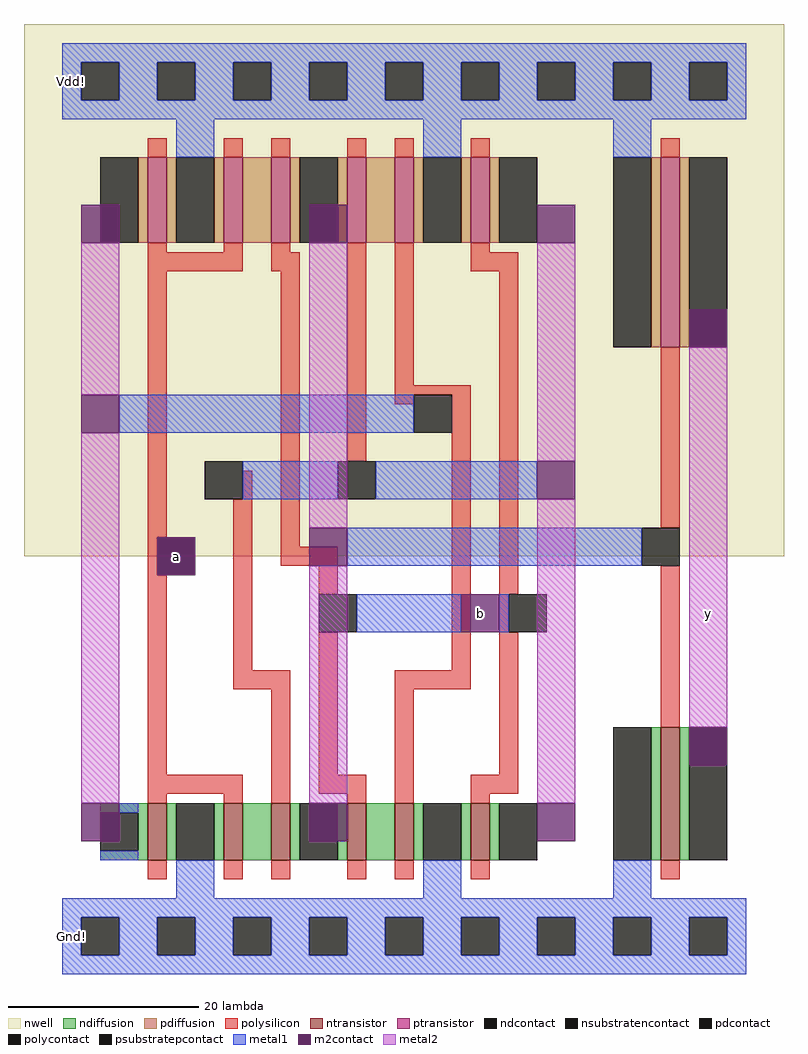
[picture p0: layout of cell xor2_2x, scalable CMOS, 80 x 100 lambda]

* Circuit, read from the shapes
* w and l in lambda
.subckt xor2_2x Gnd! Vdd! a b y
M1 Gnd! a n1 Gnd! nfet w=6 l=2
M2 n2 a Gnd! Gnd! nfet w=6 l=2
M3 n3 n4 n2 Gnd! nfet w=6 l=2
M4 n5 b n3 Gnd! nfet w=6 l=2
M5 Gnd! n1 n5 Gnd! nfet w=6 l=2
M6 n4 b Gnd! Gnd! nfet w=6 l=2
M7 y n3 Gnd! Gnd! nfet w=14 l=2
M8 Vdd! a n1 Vdd! pfet w=9 l=2
M9 n6 a Vdd! Vdd! pfet w=9 l=2
M10 n3 b n6 Vdd! pfet w=9 l=2
M11 n7 n4 n3 Vdd! pfet w=9 l=2
M12 Vdd! n1 n7 Vdd! pfet w=9 l=2
M13 n4 b Vdd! Vdd! pfet w=9 l=2
M14 y n3 Vdd! Vdd! pfet w=20 l=2
.ends

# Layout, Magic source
magic
tech scmos
<< nwell >>
rect -6 40 74 96
<< ntransistor >>
rect 7 8 9 14
rect 15 8 17 14
rect 20 8 22 14
rect 28 8 30 14
rect 33 8 35 14
rect 41 8 43 14
rect 61 8 63 22
<< ptransistor >>
rect 7 73 9 82
rect 15 73 17 82
rect 20 73 22 82
rect 28 73 30 82
rect 33 73 35 82
rect 41 73 43 82
rect 61 62 63 82
<< ndiffusion >>
rect 2 13 7 14
rect 6 9 7 13
rect 2 8 7 9
rect 9 8 10 14
rect 14 8 15 14
rect 17 8 20 14
rect 22 8 23 14
rect 27 8 28 14
rect 30 8 33 14
rect 35 8 36 14
rect 40 8 41 14
rect 43 8 44 14
rect 60 8 61 22
rect 63 8 64 22
<< pdiffusion >>
rect 6 73 7 82
rect 9 73 10 82
rect 14 73 15 82
rect 17 73 20 82
rect 22 73 23 82
rect 27 73 28 82
rect 30 73 33 82
rect 35 73 36 82
rect 40 73 41 82
rect 43 73 44 82
rect 60 62 61 82
rect 63 62 64 82
<< ndcontact >>
rect 2 9 6 13
rect 10 8 14 14
rect 23 8 27 14
rect 36 8 40 14
rect 44 8 48 14
rect 56 8 60 22
rect 64 8 68 22
<< pdcontact >>
rect 2 73 6 82
rect 10 73 14 82
rect 23 73 27 82
rect 36 73 40 82
rect 44 73 48 82
rect 56 62 60 82
rect 64 62 68 82
<< psubstratepcontact >>
rect 0 -2 4 2
rect 8 -2 12 2
rect 16 -2 20 2
rect 24 -2 28 2
rect 32 -2 36 2
rect 40 -2 44 2
rect 48 -2 52 2
rect 56 -2 60 2
rect 64 -2 68 2
<< nsubstratencontact >>
rect 0 88 4 92
rect 8 88 12 92
rect 16 88 20 92
rect 24 88 28 92
rect 32 88 36 92
rect 40 88 44 92
rect 48 88 52 92
rect 56 88 60 92
rect 64 88 68 92
<< polysilicon >>
rect 7 82 9 84
rect 15 82 17 84
rect 20 82 22 84
rect 28 82 30 84
rect 33 82 35 84
rect 41 82 43 84
rect 61 82 63 84
rect 7 72 9 73
rect 15 72 17 73
rect 7 70 17 72
rect 20 72 22 73
rect 20 70 23 72
rect 7 42 9 70
rect 17 46 18 49
rect 7 38 8 42
rect 7 17 9 38
rect 16 28 18 46
rect 21 41 23 70
rect 28 50 30 73
rect 33 58 35 73
rect 41 72 43 73
rect 41 70 46 72
rect 33 57 41 58
rect 33 56 35 57
rect 21 39 27 41
rect 25 36 27 39
rect 16 26 22 28
rect 7 15 17 17
rect 7 14 9 15
rect 15 14 17 15
rect 20 14 22 26
rect 25 17 27 32
rect 39 28 41 57
rect 33 26 41 28
rect 44 36 46 70
rect 61 43 63 62
rect 44 32 45 36
rect 25 15 30 17
rect 28 14 30 15
rect 33 14 35 26
rect 44 17 46 32
rect 61 22 63 39
rect 41 15 46 17
rect 41 14 43 15
rect 7 6 9 8
rect 15 6 17 8
rect 20 6 22 8
rect 28 6 30 8
rect 33 6 35 8
rect 41 6 43 8
rect 61 6 63 8
<< polycontact >>
rect 13 46 17 50
rect 8 38 12 42
rect 35 53 39 57
rect 27 46 31 50
rect 25 32 29 36
rect 59 39 63 43
rect 45 32 49 36
<< metal1 >>
rect -2 92 70 94
rect -2 88 0 92
rect 4 88 8 92
rect 12 88 16 92
rect 20 88 24 92
rect 28 88 32 92
rect 36 88 40 92
rect 44 88 48 92
rect 52 88 56 92
rect 60 88 64 92
rect 68 88 70 92
rect -2 86 70 88
rect 10 82 14 86
rect 36 82 40 86
rect 56 82 60 86
rect 4 53 35 57
rect 17 46 27 50
rect 31 46 48 50
rect 28 39 59 43
rect 29 32 40 36
rect 44 32 45 36
rect 4 13 6 14
rect 2 8 6 9
rect 10 4 14 8
rect 36 4 40 8
rect 56 4 60 8
rect -2 2 70 4
rect -2 -2 0 2
rect 4 -2 8 2
rect 12 -2 16 2
rect 20 -2 24 2
rect 28 -2 32 2
rect 36 -2 40 2
rect 44 -2 48 2
rect 52 -2 56 2
rect 60 -2 64 2
rect 68 -2 70 2
rect -2 -4 70 -2
<< m2contact >>
rect 0 73 2 77
rect 2 73 4 77
rect 24 73 27 77
rect 27 73 28 77
rect 48 73 52 77
rect 64 62 68 66
rect 0 53 4 57
rect 48 46 52 50
rect 8 38 12 42
rect 24 39 28 43
rect 40 32 44 36
rect 0 13 4 14
rect 0 10 2 13
rect 2 10 4 13
rect 24 10 27 14
rect 27 10 28 14
rect 48 10 52 14
rect 64 18 68 22
<< metal2 >>
rect 0 57 4 73
rect 0 14 4 53
rect 24 43 28 73
rect 24 14 28 39
rect 48 50 52 73
rect 48 14 52 46
rect 64 22 68 62
<< labels >>
rlabel metal2 66 34 66 34 1 y
rlabel m2contact 42 34 42 34 1 b
rlabel m2contact 10 40 10 40 1 a
rlabel metal1 -1 90 -1 90 3 Vdd!
rlabel metal1 -1 0 -1 0 2 Gnd!
<< end >>
